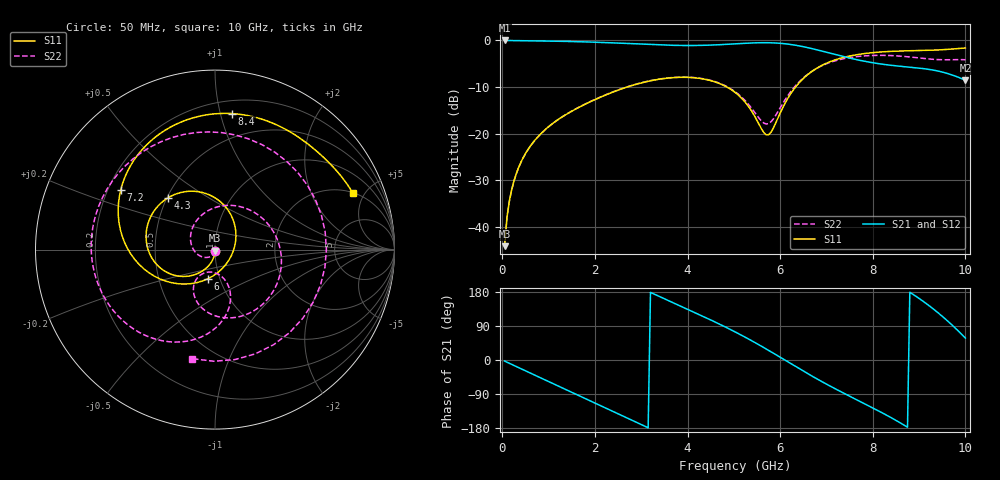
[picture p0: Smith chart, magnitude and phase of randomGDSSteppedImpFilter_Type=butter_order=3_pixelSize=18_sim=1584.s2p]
! freq	dB(S11)	phase(S11)	dB(S12)	phase(S12)
!  dB(S21)	phase(S21)	dB(S22)	phase(S22)
!S-par simulation data
#  GHz  S  DB  R 50
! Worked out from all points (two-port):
!   200 points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, 50 MHz to 10 GHz, reference 50 ohm
!   highest |S21| = 0.00 dB at 50 MHz (marker M1); lowest = -8.5 dB at 10 GHz (marker M2)
!   |S21| within 3 dB of the highest: start of sweep to 7.183 GHz
!   lowest |S11| = -44.1 dB at 50 MHz (marker M3), VSWR 1.01, Z = 50 - j0.621 ohm
!   |S11| at or under -10 dB: start of sweep to 2.695 GHz; 4.851 GHz to 6.333 GHz (1.482 GHz wide, 26.5 % of centre)
!   |S22| runs from -44.0 to -3.2 dB; largest |S21 - S12| = 0
!   S11 on the Smith chart (normalised r, x): 50 MHz: 1.00, -0.01; 4.3 GHz: 0.51, +0.35; 6 GHz: 0.88, -0.29; 7.2 GHz: 0.25, +0.27; 8.4 GHz: 0.30, +1.09; 10 GHz: 2.00, +4.08
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0.05  -44.13 -90.8  -0.00 -2.9  -0.00 -2.9  -43.96 -91.9
0.1  -38.05 -92.9  -0.01 -5.8  -0.01 -5.8  -38.10 -97.4
0.2  -32.13 -95.1  -0.02 -11.5  -0.02 -11.5  -32.16 -107.1
0.5  -24.27 -103.5  -0.06 -28.5  -0.06 -28.5  -24.32 -134.3
1.15  -17.36 -119.9  -0.16 -65.4  -0.16 -65.4  -17.36 167.3
1.75  -13.87 -133.7  -0.30 -99.5  -0.30 -99.5  -13.83 113.0
2.6  -10.31 -156.9  -0.61 -147.9  -0.61 -147.9  -10.27 40.0
3.4  -8.30 173.7  -0.96 167.3  -0.96 167.3  -8.27 -19.6
4.3  -8.20 131.9  -1.06 117.2  -1.06 117.2  -8.16 -76.4
5.05  -11.33 84.5  -0.72 72.7  -0.72 72.7  -11.16 -115.1
5.7  -20.26 -20.4  -0.48 29.0  -0.48 29.0  -17.93 -98.9
6  -15.58 -103.3  -0.61 7.3  -0.61 7.3  -14.46 -70.8
6.7  -6.55 -177.2  -1.79 -43.3  -1.79 -43.3  -6.53 -95.2
7.2  -4.13 147.6  -3.05 -76.6  -3.05 -76.6  -4.33 -126.2
7.85  -2.78 110.0  -4.52 -117.1  -4.52 -117.1  -3.29 -169.7
8.35  -2.37 85.3  -5.28 -149.0  -5.28 -149.0  -3.23 150.9
8.4  -2.34 83.0  -5.34 -152.4  -5.34 -152.4  -3.25 146.4
8.75  -2.23 67.7  -5.69 -177.4  -5.69 -177.4  -3.50 110.9
9  -2.18 57.7  -5.93 162.5  -5.93 162.5  -3.76 79.9
9.45  -2.02 41.4  -6.66 120.6  -6.66 120.6  -4.13 9.2
9.7  -1.86 32.8  -7.36 93.7  -7.36 93.7  -4.14 -38.0
10  -1.62 22.5  -8.53 57.7  -8.53 57.7  -4.14 -101.9
